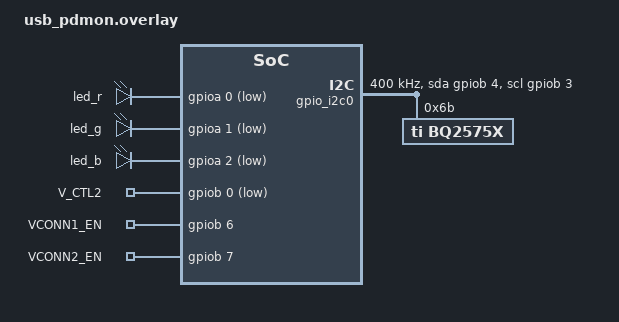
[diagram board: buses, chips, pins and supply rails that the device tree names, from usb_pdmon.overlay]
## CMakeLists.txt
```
# SPDX-License-Identifier: Apache-2.0
cmake_minimum_required(VERSION 3.20.0)

set(CMAKE_CXX_STANDARD 20)
set(CMAKE_CXX_STANDARD_REQUIRED ON)
set(CMAKE_CXX_EXTENSIONS OFF)

set(DTC_OVERLAY_FILE ${CMAKE_CURRENT_LIST_DIR}/usb_pdmon.overlay)
set(WCH_SDK_DIR ${CMAKE_CURRENT_LIST_DIR}/../packages/ch32x035/EVT/EXAM/SRC CACHE PATH "" FORCE)
set(ZEPHYR_EXTRA_MODULES "${CMAKE_CURRENT_LIST_DIR}/../packages/zephyrboards")
list(APPEND ZEPHYR_EXTRA_MODULES "${CMAKE_CURRENT_LIST_DIR}/../packages/BQ2575x")

find_package(Zephyr REQUIRED HINTS $ENV{ZEPHYR_BASE})
project(usb_c_sink)

# target_sources(app PRIVATE src/main.c src/power_ctrl.c)
target_sources(app PRIVATE src/main.cpp)
```

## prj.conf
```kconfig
#CONFIG_USBC_STACK=y
#CONFIG_USBC_CSM_SOURCE_ONLY=y
#CONFIG_USBC_THREAD_PRIORITY=10
CONFIG_ADC=y
CONFIG_PWM=y
CONFIG_LOG=y
CONFIG_GPIO=y
CONFIG_I2C=y
CONFIG_I2C_GPIO=n
CONFIG_I2C_GPIO_EMULATED_OD=y
CONFIG_I2C_INIT_PRIORITY=60
CONFIG_CPP=y
CONFIG_CHARGER=y
CONFIG_CHARGER_BQ2575x=y

CONFIG_I2C_LOG_LEVEL_DBG=y
```

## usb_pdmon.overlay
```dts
#include <dt-bindings/usb-c/pd.h>

/ {

    chosen {
        zephyr,console = &usart1;
    };
/*
    pwmleds {
		compatible = "pwm-leds";
		pwm_ctl: g0 {
			pwms = <&pwm2 0 PWM_USEC(50) PWM_POLARITY_INVERTED>;
			label = "PWM CTL";
		};
	};*/

	
    leds {
        compatible = "gpio-leds";
        led_r:   led_r   { gpios = <&gpioa 0 GPIO_ACTIVE_LOW>;  };
        led_g:   led_g   { gpios = <&gpioa 1 GPIO_ACTIVE_LOW>;  };
        led_b:   led_b   { gpios = <&gpioa 2 GPIO_ACTIVE_LOW>;  };
	};

	aliases {
		usbc-port0 = &port1;
		my-i2c = &gpio_i2c0;
	};

    pwrctrl {
		compatible = "gpio-leds";

		dcdc_en: dcdc_en {
			gpios = <&gpiob 0 GPIO_ACTIVE_LOW>;
			label = "V_CTL2";
		};

		vconn1_en: vconn1_en {
			gpios = <&gpiob 6 GPIO_ACTIVE_HIGH>;
			label = "VCONN1_EN";
		};

		vconn2_en: vconn2_en {
			gpios = <&gpiob 7 GPIO_ACTIVE_HIGH>;
			label = "VCONN2_EN";
		};
	};

	gpio_i2c0: gpio_i2c0 {                                                                                         
		compatible = "gpio-i2c-emod";
		status = "okay";
		clock-frequency = <400000>;
		sda-gpios = <&gpiob 4 GPIO_ACTIVE_HIGH>;
		scl-gpios = <&gpiob 3 GPIO_ACTIVE_HIGH>;
		label = "GPIO_I2C_0";
		#address-cells = <1>;
		#size-cells = <0>;

		bq2575x: charger@6B {
			compatible = "ti,bq2575x";
			reg = <0x6B>;
			status = "okay";
		};
	};


};

&port1 {
	power-role = "source";
	data-role = "dual"; /* actually means disconnected */
	typec-power-opmode = "1.5A";
	source-pdos = <PDO_FIXED(5000, 100, 0) 
		PDO_FIXED(9000, 100, 0) 
		PDO_FIXED(20000, 5000, 0) 
		PDO_FIXED(48000, 100, 0) 
		PDO_PPS_APDO(3300, 48000, 5000)>;
};
```

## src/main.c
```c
/*
 * Copyright (c) 2023 The Chromium OS Authors.
 *
 * SPDX-License-Identifier: Apache-2.0
 */

#include <zephyr/kernel.h>
#include <zephyr/device.h>
#include <zephyr/devicetree.h>
#include <zephyr/drivers/gpio.h>
#include <zephyr/usb_c/usbc.h>

#include <zephyr/logging/log.h>
LOG_MODULE_REGISTER(main, LOG_LEVEL_DBG);

#include "power_ctrl.h"

#define USBC_PORT0_NODE		DT_ALIAS(usbc_port0)
#define USBC_PORT0_POWER_ROLE	DT_ENUM_IDX(USBC_PORT0_NODE, power_role)


/* A Source power role evauates to 1. See usbc_tc.h: TC_ROLE_SOURCE */
#if (USBC_PORT0_POWER_ROLE != 1)
#error "Unsupported board: Only Source device supported"
#endif

#define SOURCE_PDO(node_id, prop, idx)	(DT_PROP_BY_IDX(node_id, prop, idx)),

/* usbc.rst port data object start */
/**
 * @brief A structure that encapsulates Port data.
 */
static struct port0_data_t {
	/** Source Capabilities */
	uint32_t src_caps[DT_PROP_LEN(USBC_PORT0_NODE, source_pdos)];
	/** Number of Source Capabilities */
	int src_cap_cnt;
	/** CC Rp value */
	int rp;
	/** Sink Request RDO */
	union pd_rdo sink_request;
	/** Requested Object Pos */
	int obj_pos;
	/** VCONN CC line*/
	enum tc_cc_polarity vconn_pol;
	/** True if power supply is ready */
	bool ps_ready;
	/** True if power supply should transition to a new level */
	bool ps_tran_start;
	/** Log Sink Requested RDO to console */
	atomic_t show_sink_request;
} port0_data = {
	.rp = DT_ENUM_IDX(USBC_PORT0_NODE, typec_power_opmode),
	.src_caps = {DT_FOREACH_PROP_ELEM(USBC_PORT0_NODE, source_pdos, SOURCE_PDO)},
	.src_cap_cnt = DT_PROP_LEN(USBC_PORT0_NODE, source_pdos),
};

/* usbc.rst port data object end */

static void dump_sink_request_rdo(const uint32_t rdo)
{
	union pd_rdo request;

	request.raw_value = rdo;

	LOG_INF("REQUEST RDO: %08x", rdo);
	LOG_INF("\tObject Position:\t %d", request.fixed.object_pos);
	LOG_INF("\tGiveback:\t\t %d", request.fixed.giveback);
	LOG_INF("\tCapability Mismatch:\t %d", request.fixed.cap_mismatch);
	LOG_INF("\tUSB Comm Capable:\t %d", request.fixed.usb_comm_capable);
	LOG_INF("\tNo USB Suspend:\t\t %d", request.fixed.no_usb_suspend);
	LOG_INF("\tUnchunk Ext MSG Support: %d", request.fixed.unchunked_ext_msg_supported);
	LOG_INF("\tOperating Current:\t %d mA",
			PD_CONVERT_FIXED_PDO_CURRENT_TO_MA(request.fixed.operating_current));
	if (request.fixed.giveback) {
		LOG_INF("\tMax Operating Current:\t %d mA",
		PD_CONVERT_FIXED_PDO_CURRENT_TO_MA(request.fixed.min_or_max_operating_current));
	} else {
		LOG_INF("\tMin Operating Current:\t %d mA",
		PD_CONVERT_FIXED_PDO_CURRENT_TO_MA(request.fixed.min_or_max_operating_current));
	}
}

/* usbc.rst callbacks start */
/**
 * @brief PE calls this function when it needs to set the Rp on CC
 */
int port0_policy_cb_get_src_rp(const struct device *dev,
			       enum tc_rp_value *rp)
{
	struct port0_data_t *dpm_data = usbc_get_dpm_data(dev);

	*rp = dpm_data->rp;

	return 0;
}

/**
 * @brief PE calls this function to Enable (5V) or Disable (0V) the
 *	  Power Supply
 */
int port0_policy_cb_src_en(const struct device *dev, bool en)
{
	source_ctrl_set(en ? SOURCE_5V : SOURCE_0V);

	return 0;
}

/**
 * @brief PE calls this function to Enable or Disable VCONN
 */
int port0_policy_cb_vconn_en(const struct device *dev, enum tc_cc_polarity pol, bool en)
{
	struct port0_data_t *dpm_data = usbc_get_dpm_data(dev);

	dpm_data->vconn_pol = pol;

	if (en == false) {
		/* Disable VCONN on CC1 and CC2 */
		vconn_ctrl_set(VCONN_OFF);
	} else if (pol == TC_POLARITY_CC1) {
		/* set VCONN on CC1 */
		vconn_ctrl_set(VCONN1_ON);
	} else {
		/* set VCONN on CC2 */
		vconn_ctrl_set(VCONN2_ON);
	}

	return 0;
}

/**
 * @brief PE calls this function to get the Source Caps that will be sent
 *	  to the Sink
 */
int port0_policy_cb_get_src_caps(const struct device *dev,
			const uint32_t **pdos, uint32_t *num_pdos)
{
	struct port0_data_t *dpm_data = usbc_get_dpm_data(dev);

	*pdos = dpm_data->src_caps;
	*num_pdos = dpm_data->src_cap_cnt;

	return 0;
}

/**
 * @brief PE calls this function to verify that a Sink's request if valid
 */
static enum usbc_snk_req_reply_t port0_policy_cb_check_sink_request(const struct device *dev,
					const uint32_t request_msg)
{
	struct port0_data_t *dpm_data = usbc_get_dpm_data(dev);
	union pd_fixed_supply_pdo_source pdo;
	uint32_t obj_pos;
	uint32_t op_current;

	dpm_data->sink_request.raw_value = request_msg;
	obj_pos = dpm_data->sink_request.fixed.object_pos;
	op_current =
		PD_CONVERT_FIXED_PDO_CURRENT_TO_MA(dpm_data->sink_request.fixed.operating_current);

	if (obj_pos == 0 || obj_pos > dpm_data->src_cap_cnt) {
		return SNK_REQUEST_REJECT;
	}

	pdo.raw_value = dpm_data->src_caps[obj_pos - 1];

	if (dpm_data->sink_request.fixed.operating_current > pdo.max_current) {
		return SNK_REQUEST_REJECT;
	}

	dpm_data->obj_pos = obj_pos;

	atomic_set_bit(&port0_data.show_sink_request, 0);

	/*
	 * Clear PS ready. This will be set to true after PS is ready after
	 * it transitions to the new level.
	 */
	port0_data.ps_ready = false;

	return SNK_REQUEST_VALID;
}

/**
 * @brief PE calls this function to check if the Power Supply is at the requested
 *	  level
 */
static bool port0_policy_cb_is_ps_ready(const struct device *dev)
{
	struct port0_data_t *dpm_data = usbc_get_dpm_data(dev);


	/* Return true to inform that the Power Supply is ready */
	return dpm_data->ps_ready;
}

/**
 * @brief PE calls this function to check if the Present Contract is still
 *	  valid
 */
static bool port0_policy_cb_present_contract_is_valid(const struct device *dev,
					const uint32_t present_contract)
{
	struct port0_data_t *dpm_data = usbc_get_dpm_data(dev);
	union pd_fixed_supply_pdo_source pdo;
	union pd_rdo request;
	uint32_t obj_pos;
	uint32_t op_current;

	request.raw_value = present_contract;
	obj_pos = request.fixed.object_pos;
	op_current = PD_CONVERT_FIXED_PDO_CURRENT_TO_MA(request.fixed.operating_current);

	if (obj_pos == 0 || obj_pos > dpm_data->src_cap_cnt) {
		return false;
	}

	pdo.raw_value = dpm_data->src_caps[obj_pos - 1];

	if (request.fixed.operating_current > pdo.max_current) {
		return false;
	}

	return true;
}

/* usbc.rst callbacks end */

/* usbc.rst notify start */
static void port0_notify(const struct device *dev,
			      const enum usbc_policy_notify_t policy_notify)
{
	struct port0_data_t *dpm_data = usbc_get_dpm_data(dev);

	switch (policy_notify) {
	case PROTOCOL_ERROR:
		break;
	case MSG_DISCARDED:
		break;
	case MSG_ACCEPT_RECEIVED:
		break;
	case MSG_REJECTED_RECEIVED:
		break;
	case MSG_NOT_SUPPORTED_RECEIVED:
		break;
	case TRANSITION_PS:
		dpm_data->ps_tran_start = true;
		break;
	case PD_CONNECTED:
		break;
	case NOT_PD_CONNECTED:
		break;
	case DATA_ROLE_IS_UFP:
		break;
	case DATA_ROLE_IS_DFP:
		break;
	case PORT_PARTNER_NOT_RESPONSIVE:
		LOG_INF("Port Partner not PD Capable");
		break;
	case HARD_RESET_RECEIVED:
		/*
		 * This notification is sent from the PE_SRC_Transition_to_default
		 * state and requires the following:
		 *	1: Vconn should be turned OFF
		 *	2: Reset of the local hardware
		 */

		/* Power off VCONN */
		vconn_ctrl_set(VCONN_OFF);
		/* Transition PS to Default level */
		source_ctrl_set(SOURCE_5V);
		break;
	default:
	}
}
/* usbc.rst notify end */

/* usbc.rst check start */
bool port0_policy_check(const struct device *dev,
			const enum usbc_policy_check_t policy_check)
{
	struct port0_data_t *dpm_data = usbc_get_dpm_data(dev);

	switch (policy_check) {
	case CHECK_POWER_ROLE_SWAP:
		/* Reject power role swaps */
		return false;
	case CHECK_DATA_ROLE_SWAP_TO_DFP:
		/* Accept data role swap to DFP */
		return true;
	case CHECK_DATA_ROLE_SWAP_TO_UFP:
		/* Reject data role swap to UFP */
		return false;
	case CHECK_SRC_PS_AT_DEFAULT_LEVEL:
		/*
		 * This check is sent from the PE_SRC_Transition_to_default
		 * state and requires the following:
		 *	1: Vconn should be turned ON
		 *	2: Return TRUE when Power Supply is at default level
		 */

		/* Power on VCONN */
		vconn_ctrl_set(dpm_data->vconn_pol);

		/* PS should be at default level after receiving a Hard Reset */
		return true;
	default:
		/* Reject all other policy checks */
		return false;

	}
}
/* usbc.rst check end */

int main(void)
{
	const struct device *usbc_port0;

	/* Get the device for this port */
	usbc_port0 = DEVICE_DT_GET(USBC_PORT0_NODE);
	if (!device_is_ready(usbc_port0)) {
		LOG_ERR("PORT0 device not ready");
		return 0;
	}

	/* usbc.rst register start */
	/* Register USB-C Callbacks */

	/* Register Policy Check callback */
	usbc_set_policy_cb_check(usbc_port0, port0_policy_check);
	/* Register Policy Notify callback */
	usbc_set_policy_cb_notify(usbc_port0, port0_notify);
	/* Register Policy callback to set the Rp on CC lines */
	usbc_set_policy_cb_get_src_rp(usbc_port0, port0_policy_cb_get_src_rp);
	/* Register Policy callback to enable or disable power supply */
	usbc_set_policy_cb_src_en(usbc_port0, port0_policy_cb_src_en);
	/* Register Policy callback to enable or disable vconn */
	usbc_set_vconn_control_cb(usbc_port0, port0_policy_cb_vconn_en);
	/* Register Policy callback to send the source caps to the sink */
	usbc_set_policy_cb_get_src_caps(usbc_port0, port0_policy_cb_get_src_caps);
	/* Register Policy callback to check if the sink request is valid */
	usbc_set_policy_cb_check_sink_request(usbc_port0, port0_policy_cb_check_sink_request);
	/* Register Policy callback to check if the power supply is ready */
	usbc_set_policy_cb_is_ps_ready(usbc_port0, port0_policy_cb_is_ps_ready);
	/* Register Policy callback to check if Present Contract is still valid */
	usbc_set_policy_cb_present_contract_is_valid(usbc_port0,
				port0_policy_cb_present_contract_is_valid);

	/* usbc.rst register end */

	/* usbc.rst user data start */
	/* Set Application port data object. This object is passed to the policy callbacks */
	usbc_set_dpm_data(usbc_port0, &port0_data);
	/* usbc.rst user data end */

	/* Flag to show sink request */
	port0_data.show_sink_request = ATOMIC_INIT(0);

	/* Init power supply transition start */
	port0_data.ps_tran_start = false;
	/* Init power supply ready */
	port0_data.ps_ready = false;

	/* usbc.rst usbc start */
	/* Start the USB-C Subsystem */
	usbc_start(usbc_port0);
	/* usbc.rst usbc end */

	while (1) {
		/* Perform Application Specific functions */

		/* Transition PS to new level */
		if (port0_data.ps_tran_start) {
			/*
			 * Transition Power Supply to new voltage.
			 * Okay if this blocks.
			 */
			source_ctrl_set(port0_data.obj_pos);
			port0_data.ps_ready = true;
			port0_data.ps_tran_start = false;
		}

		/* Display Sink Requests */
		if (atomic_test_and_clear_bit(&port0_data.show_sink_request, 0)) {
			/* Display the Sink request */
			dump_sink_request_rdo(port0_data.sink_request.raw_value);
		}
		/* Arbitrary delay */
		k_msleep(10);
	}

	return 0;
}
```

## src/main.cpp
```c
#include <stdio.h>
#include <zephyr/kernel.h>
#include <zephyr/drivers/gpio.h>
#include <zephyr/drivers/charger.h>

#include "util.h"
#include "../../packages/BQ2575x/drivers/charger/bq2575x.h"

/* 1000 msec = 1 sec */
#define SLEEP_TIME_MS   500

/* The devicetree node identifier for the "led0" alias. */
#define LED0_NODE DT_ALIAS(led0)

/*
 * A build error on this line means your board is unsupported.
 * See the sample documentation for information on how to fix this.
 */
static const struct gpio_dt_spec led = GPIO_DT_SPEC_GET(LED0_NODE, gpios);

static const struct gpio_dt_spec dcdc_en_ = GPIO_DT_SPEC_GET(DT_NODELABEL(dcdc_en), gpios);

const struct device *dcdc = DEVICE_DT_GET(DT_NODELABEL(bq2575x));

void i2c_scan(void);
void i2c_dump(uint16_t addr, uint8_t regStart, uint8_t regStop);

BQ2575x *bq;

int main(void)
{
	int ret;
	bool led_state = true;

	gpio_pin_configure_dt(&dcdc_en_, GPIO_OUTPUT_INACTIVE);

	if (device_is_ready(dcdc)) {
		charger_propval val;
		val.const_charge_voltage_uv = 9000e3;
		charger_set_prop(dcdc, CHARGER_PROP_CONSTANT_CHARGE_VOLTAGE_UV, &val);
		val.input_current_regulation_current_ua = 5000e3;
		charger_set_prop(dcdc, CHARGER_PROP_INPUT_REGULATION_CURRENT_UA, &val);

		charger_get_prop(dcdc, CHARGER_PROP_CONSTANT_CHARGE_VOLTAGE_UV, &val);
		printf("CC uV: %d\n", val.const_charge_voltage_uv);
		charger_get_prop(dcdc, CHARGER_PROP_CONSTANT_CHARGE_CURRENT_UA, &val);
		printf("CC uA: %d\n", val.const_charge_current_ua);
		charger_get_prop(dcdc, CHARGER_PROP_INPUT_REGULATION_CURRENT_UA, &val);
		printf("IC uA: %d\n", val.input_current_regulation_current_ua);

		// charger_get_prop(dcdc, CHARGER_PROP_BQ_INST, &val);
		// bq = (BQ2575x*)val.system_voltage_notification;
		// bq->setValue<BQ2575x::adc

		gpio_pin_set_dt(&dcdc_en_, 1);
	}

	if (!gpio_is_ready_dt(&led)) {
		return 0;
	}

	ret = gpio_pin_configure_dt(&led, GPIO_OUTPUT_ACTIVE);
	if (ret < 0) {
		return 0;
	}

	while (1) {
		ret = gpio_pin_toggle_dt(&led);
		if (ret < 0) {
			return 0;
		}


		led_state = !led_state;
		// printf("LED state: %s\n", led_state ? "ON" : "OFF");
		k_msleep(SLEEP_TIME_MS);

		// This makes the DCDC not turn on properly? WTF (works until this code block gets executed??)
		// uint8_t buf[1];
		// const uint8_t startAddr = 0x21;
		// i2c_write_read(dcdc, 0x6B, &startAddr, 1, buf, sizeof(buf));
		// printf("Status: %02X %02X %02X %02X\n", buf[0], buf[1], buf[2], buf[3]);

		// i2c_scan();
		i2c_dump(0x6B, 0, 0x3F);

	}
	return 0;
}

// I2C scan code from: https://github.com/iFransL/i2c-scanner
#include <zephyr/sys/printk.h>
#include <zephyr/drivers/i2c.h>

#define CONFIG_I2C_SCAN_ADDR_START 8
#define CONFIG_I2C_SCAN_ADDR_STOP  127

/* Check if devicetree node identifier with the alias "my-i2c" is defined						*/
/* If not defined use the default defined node for the arduino_i2c pins on the development kit 	*/
#if DT_NODE_HAS_STATUS(DT_ALIAS(my_i2c), okay)
	#define I2C_NODE DT_ALIAS(my_i2c)
	#define I2C_DEV	DT_PROP(I2C_NODE, label)
#else
	#define I2C_NODE DT_NODELABEL(arduino_i2c)
	#if DT_NODE_HAS_STATUS(I2C_NODE, okay)
		#define I2C_DEV	DT_PROP(I2C_NODE, label)
	#else
		#error "Arduino_i2c not defined, specify the I2C bus to use with the alias "my-i2c""
		#define I2C_DEV ""
	#endif
#endif

void i2c_scan(void)
{
	const struct device *i2c_dev;

	k_sleep(K_SECONDS(1));
	printf("*** I2C scanner started.                    ***\nBoard name      : %s\n", CONFIG_BOARD);

	// i2c_dev = device_get_binding(I2C_DEV);
	// 	if (!i2c_dev) {
	// 	printf("I2C: Device driver not found.\n");
	// 	return;
	// }

	i2c_dev = DEVICE_DT_GET(DT_NODELABEL(gpio_i2c0));

	printf("I2C Port        : %s \n",I2C_DEV);
	printf("Clock Frequency : %d \n",DT_PROP(I2C_NODE, clock_frequency));

#ifndef CONFIG_PINCTRL_NRF
	// From NCS2.0.0 pin-control is used, not possible to read out the used pins from I2C_NODE 
	// printf("SDA-PIN         : %d \n",DT_PROP(I2C_NODE, sda_pin));
	// printf("SCL-PIN         : %d \n",DT_PROP(I2C_NODE, scl_pin));
#endif

	printf("\n    | 0x00 0x01 0x02 0x03 0x04 0x05 0x06 0x07 0x08 0x09 0x0a 0x0b 0x0c 0x0d 0x0e 0x0f |\n");
	printf(  "----|---------------------------------------------------------------------------------");
	
	uint8_t error = 0u;
	uint8_t dst;
	uint8_t i2c_dev_cnt = 0;
	struct i2c_msg msgs[1];
	msgs[0].buf = &dst;
	msgs[0].len = 1U;
	msgs[0].flags = I2C_MSG_WRITE | I2C_MSG_STOP;

	/* Use the full range of I2C address for display purpose */	
	for (uint16_t x = 0; x <= 0x7f; x++) {
		/* New line every 0x10 address */
		if (x % 0x10 == 0) {
			printf("|\n0x%02x| ",x);	
		}
		/* Range the test with the start and stop value configured in the kconfig */
		if (x >= CONFIG_I2C_SCAN_ADDR_START && x <= CONFIG_I2C_SCAN_ADDR_STOP)	{	
			/* Send the address to read from */
			error = i2c_transfer(i2c_dev, &msgs[0], 1, x);
				/* I2C device found on current address */
				if (error == 0) {
					printf("0x%02x ",x);
					i2c_dev_cnt++;
				}
				else {
					printf(" --  ");
				}
		} else {
			/* Scan value out of range, not scanned */
			printf("     ");
		}
	}
	printf("|\n");
	printf("\nI2C device(s) found on the bus: %d\nScanning done.\n\n", i2c_dev_cnt);
	printf("Find the registered I2C address on: https://i2cdevices.org/addresses\n\n");
}


void i2c_dump(uint16_t addr, uint8_t regStart, uint8_t regStop) {
	uint8_t buf[regStop - regStart + 1] = {0};
	const struct device *i2c_dev;
	i2c_dev = DEVICE_DT_GET(DT_NODELABEL(gpio_i2c0));

	uint8_t dst;
	struct i2c_msg msg = {
		.buf = &dst,
		.len = 1,
		.flags = I2C_MSG_READ | I2C_MSG_STOP,
	};

	i2c_write_read(i2c_dev, addr, &regStart, 1, buf, sizeof(buf));

	printHex(buf, sizeof(buf));
}
```

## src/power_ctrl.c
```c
/*
 * Copyright (c) 2023 The Chromium OS Authors.
 *
 * SPDX-License-Identifier: Apache-2.0
 */

#include <zephyr/kernel.h>
#include <zephyr/device.h>
#include <zephyr/devicetree.h>
#include <zephyr/drivers/adc.h>
#include <zephyr/drivers/gpio.h>
#include <zephyr/init.h>
#include <zephyr/usb_c/usbc.h>
// #include <zephyr/drivers/pwm.h>

#include <zephyr/logging/log.h>
LOG_MODULE_REGISTER(power_ctrl, LOG_LEVEL_DBG);

#include "power_ctrl.h"

#define PORT1_DCDC_DETECT_NODE	DT_PATH(dcdc_detect)

#define PORT1_SOURCE_EN_NODE	DT_NODELABEL(source_en)
#define PORT1_DCDC_EN_NODE	DT_NODELABEL(dcdc_en)
// #define PORT1_PWM_CTL_NODE	DT_NODELABEL(pwm_ctl)
#define PORT1_VCONN1_EN_NODE	DT_NODELABEL(vconn1_en)
#define PORT1_VCONN2_EN_NODE	DT_NODELABEL(vconn2_en)

/* DCDC Voltage is 19V and setting min threshold to 18V */
#define MIN_DCDC_DETECT_MV 18000

#define PWM_FOR_15V	45000
#define PWM_FOR_9V	30000
#define PWM_FOR_5V	21500
#define PWM_FOR_0V	0

static const struct gpio_dt_spec source_en = GPIO_DT_SPEC_GET(PORT1_SOURCE_EN_NODE, gpios);
static const struct gpio_dt_spec dcdc_en = GPIO_DT_SPEC_GET(PORT1_DCDC_EN_NODE, gpios);

static const struct gpio_dt_spec vconn1_en = GPIO_DT_SPEC_GET(PORT1_VCONN1_EN_NODE, gpios);
static const struct gpio_dt_spec vconn2_en = GPIO_DT_SPEC_GET(PORT1_VCONN2_EN_NODE, gpios);

// static const struct pwm_dt_spec pwm_ctl = PWM_DT_SPEC_GET(PORT1_PWM_CTL_NODE);

int vconn_ctrl_set(enum vconn_t v)
{
	switch (v) {
	case VCONN_OFF:
		gpio_pin_set_dt(&vconn1_en, 0);
		gpio_pin_set_dt(&vconn2_en, 0);
		break;
	case VCONN1_ON:
		gpio_pin_set_dt(&vconn1_en, 1);
		gpio_pin_set_dt(&vconn2_en, 0);
		break;
	case VCONN2_ON:
		gpio_pin_set_dt(&vconn1_en, 0);
		gpio_pin_set_dt(&vconn2_en, 1);
		break;
	};

	return 0;
}

int source_ctrl_set(enum source_t v)
{
	uint32_t pwmv;

	switch (v) {
	case SOURCE_0V:
		pwmv = PWM_FOR_0V;
		break;
	case SOURCE_5V:
		pwmv = PWM_FOR_5V;
		break;
	case SOURCE_9V:
		pwmv = PWM_FOR_9V;
		break;
	case SOURCE_15V:
		pwmv = PWM_FOR_15V;
		break;
	default:
		pwmv = PWM_FOR_0V;
	}

	// return pwm_set_pulse_dt(&pwm_ctl, pwmv);
}

static int power_ctrl_init(void)
{
	int ret;

	if (!gpio_is_ready_dt(&source_en)) {
		LOG_ERR("Error: Source Enable device %s is not ready",
			source_en.port->name);
		return -ENODEV;
	}

	if (!gpio_is_ready_dt(&dcdc_en)) {
		LOG_ERR("Error: DCDC Enable device %s is not ready",
			dcdc_en.port->name);
		return -ENODEV;
	}

	if (!gpio_is_ready_dt(&vconn1_en)) {
		LOG_ERR("Error: VCONN1 Enable device %s is not ready",
			vconn1_en.port->name);
		return -ENODEV;
	}

	if (!gpio_is_ready_dt(&vconn2_en)) {
		LOG_ERR("Error: VCONN2 Enable device %s is not ready",
			vconn2_en.port->name);
		return -ENODEV;
	}

	// if (!pwm_is_ready_dt(&pwm_ctl)) {
	// 	LOG_ERR("Error: PWM CTL device is not ready");
	// 	return -ENODEV;
	// }

	ret = gpio_pin_configure_dt(&source_en, GPIO_OUTPUT);
	if (ret != 0) {
		LOG_ERR("Error %d: failed to configure Source Enable device %s pin %d",
			ret, source_en.port->name, source_en.pin);
		return ret;
	}

	ret = gpio_pin_configure_dt(&dcdc_en, GPIO_OUTPUT);
	if (ret != 0) {
		LOG_ERR("Error %d: failed to configure DCDC Enable device %s pin %d",
			ret, dcdc_en.port->name, dcdc_en.pin);
		return ret;
	}

	ret = gpio_pin_configure_dt(&vconn1_en, GPIO_OUTPUT | GPIO_OPEN_DRAIN);
	if (ret != 0) {
		LOG_ERR("Error %d: failed to configure VCONN1 Enable device %s pin %d",
			ret, vconn1_en.port->name, vconn1_en.pin);
		return ret;
	}

	ret = gpio_pin_configure_dt(&vconn2_en, GPIO_OUTPUT | GPIO_OPEN_DRAIN);
	if (ret != 0) {
		LOG_ERR("Error %d: failed to configure VCONN2 Enable device %s pin %d",
			ret, vconn2_en.port->name, vconn1_en.pin);
		return ret;
	}

	ret = gpio_pin_set_dt(&source_en, 1);
	if (ret != 0) {
		LOG_ERR("Error %d: failed to enable source", ret);
		return ret;
	}

	ret = gpio_pin_set_dt(&dcdc_en, 1);
	if (ret != 0) {
		LOG_ERR("Error %d: failed to enable dcdc converter", ret);
		return ret;
	}

	vconn_ctrl_set(VCONN_OFF);

	ret = source_ctrl_set(SOURCE_0V);
	if (ret != 0) {
		LOG_ERR("Error %d: failed to set VBUS to 0V", ret);
		return ret;
	}

	return 0;
}

SYS_INIT(power_ctrl_init, APPLICATION, CONFIG_KERNEL_INIT_PRIORITY_DEFAULT);
```

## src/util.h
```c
#include <stdint.h>
#include <stdio.h>

static void printHex(const uint8_t* buf, uint16_t size) {
	printf("       ");
	for(uint8_t i = 0; i < 16; i++) {
		printf("%1X  ", i);
	}
	printf("\n%04X  ", 0);
	for(uint16_t i = 0; i < size; i++) {
		printf("%02X ", buf[i]);
		if(i % 16 == 15) {
			printf("\n%04X  ", i+1);
		}
	}
	printf("\n");
}
```
